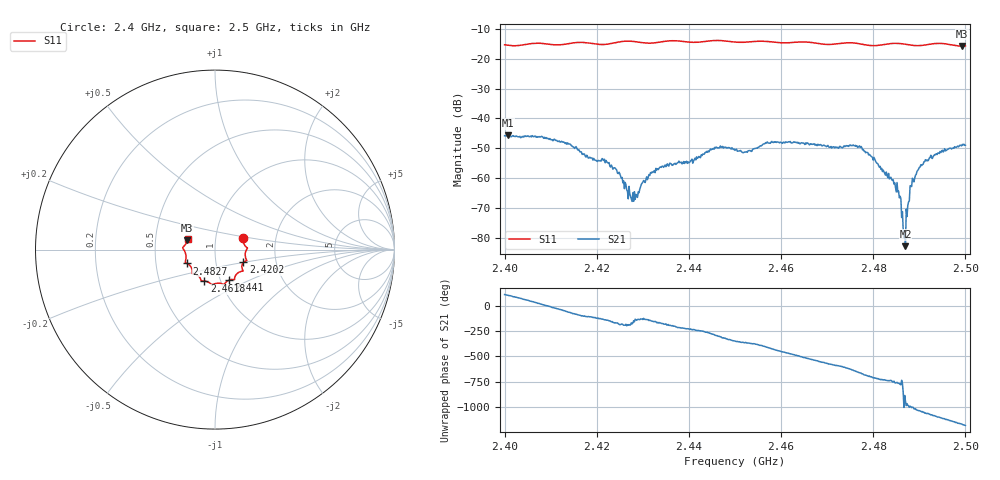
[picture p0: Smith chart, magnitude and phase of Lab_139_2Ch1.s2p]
# Hz S RI R 50
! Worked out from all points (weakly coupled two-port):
!   601 points, 2.4 GHz to 2.5 GHz, reference 50 ohm
!   highest |S21| = -45.60 dB at 2.4007 GHz (marker M1); lowest = -82.7 dB at 2.487 GHz (marker M2)
!   lowest |S11| = -15.8 dB at 2.4993 GHz (marker M3), VSWR 1.39, Z = 36.5 + j3.83 ohm
!   |S11| at or under -10 dB: start of sweep to end of sweep
!   S12 and S22 are empty: the file has one direction only
!   S11 on the Smith chart (normalised r, x): 2.4 GHz: 1.36, +0.18; 2.4202 GHz: 1.36, -0.20; 2.441 GHz: 1.10, -0.39; 2.4618 GHz: 0.84, -0.30; 2.4827 GHz: 0.72, -0.12; 2.5 GHz: 0.73, +0.09
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2.4e9  0.1585 0.0631  -0.00193 0.00477  0 0  0 0
2.400667e9  0.158 0.0557  -0.00142 0.00505  0 0  0 0
2.416667e9  0.177 -0.0608  -0.000474 -0.00271  0 0  0 0
2.420167e9  0.1585 -0.0712  -0.000947 -0.00165  0 0  0 0
2.424333e9  0.1522 -0.1091  -0.00134 -0.000272  0 0  0 0
2.427833e9  0.1531 -0.1198  -0.000561 -0.000111  0 0  0 0
2.433333e9  0.1113 -0.1508  -0.00138 -0.000246  0 0  0 0
2.441e9  0.0788 -0.1699  -0.00115 0.00157  0 0  0 0
2.4455e9  0.0509 -0.1943  0.000827 0.00296  0 0  0 0
2.45e9  0.0284 -0.1873  0.00288 0.000512  0 0  0 0
2.461833e9  -0.0592 -0.1755  -0.00162 -0.00374  0 0  0 0
2.466667e9  -0.0788 -0.1685  -0.00373 -0.000495  0 0  0 0
2.477e9  -0.1268 -0.1241  0.00186 0.00295  0 0  0 0
2.482667e9  -0.1557 -0.0773  0.00108 -0.000333  0 0  0 0
2.483333e9  -0.1601 -0.0754  0.00113 -0.00042  0 0  0 0
2.4855e9  -0.1657 -0.0694  0.000417 -0.000447  0 0  0 0
2.4865e9  -0.1646 -0.0639  -9.83e-05 -0.000101  0 0  0 0
2.487e9  -0.1635 -0.06  -4.92e-05 5.44e-05  0 0  0 0
2.488167e9  -0.1615 -0.0475  0.000135 0.000742  0 0  0 0
2.49e9  -0.1636 -0.0238  0.00114 0.00101  0 0  0 0
2.499333e9  -0.154 0.0512  -0.000312 -0.00367  0 0  0 0
2.5e9  -0.1523 0.0604  -0.000932 -0.00344  0 0  0 0
